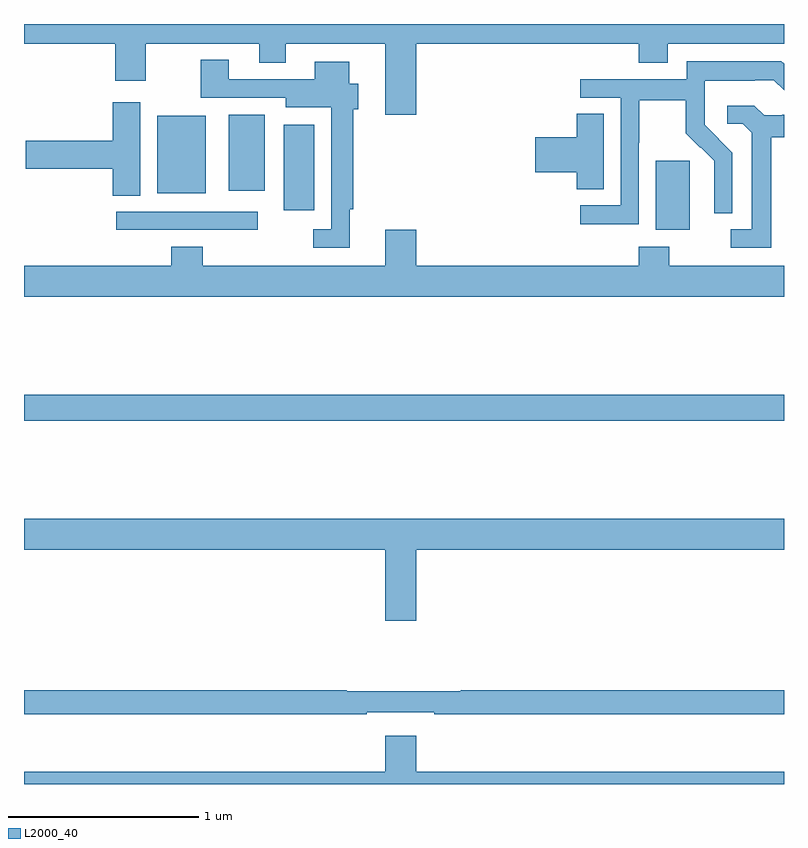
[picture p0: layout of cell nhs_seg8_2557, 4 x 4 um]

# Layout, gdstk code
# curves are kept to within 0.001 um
import gdstk
lib = gdstk.Library(unit=1e-6, precision=1e-09)
def R(c, l, rs):  # rectangles x0, y0, x1, y1
    for r in rs: c.add(gdstk.rectangle(r[:2], r[2:], *l))
def P(c, l, *ps):  # polygons
    for p in ps: c.add(gdstk.Polygon(p, *l))
L2000_40 = (2000, 40)

nhs_seg8_2557 = lib.new_cell('nhs_seg8_2557')
R(nhs_seg8_2557, L2000_40, [(271,1151.812,275,1151.948), (271.485,1152.816,272.23,1152.912), (274.325,1152.818,274.504,1153.179), (272.366,1152.921,272.527,1153.369), (271.7,1153.01,271.957,1153.417), (272.078,1153.022,272.266,1153.423)])
P(nhs_seg8_2557, L2000_40, [(271,1153.796),(271.481,1153.796),(271.481,1153.602),(271.641,1153.602),(271.641,1153.796),(272.237,1153.796),(272.237,1153.697),(272.377,1153.697),(272.377,1153.796),(272.9,1153.796),(272.9,1153.422),(273.064,1153.422),(273.064,1153.796),(274.235,1153.796),(274.235,1153.697),(274.387,1153.697),(274.387,1153.796),(275,1153.796),(275,1153.9),(271,1153.9)],
  [(272.714,1152.926),(272.732,1152.926),(272.732,1153.451),(272.758,1153.451),(272.758,1153.585),(272.713,1153.585),(272.713,1153.702),(272.531,1153.702),(272.531,1153.608),(272.077,1153.608),(272.077,1153.711),(271.93,1153.711),(271.93,1153.512),(272.378,1153.512),(272.378,1153.463),(272.616,1153.463),(272.616,1152.819),(272.523,1152.819),(272.523,1152.723),(272.714,1152.723)],
  [(274.236,1153.276),(274.239,1153.276),(274.239,1153.5),(274.483,1153.5),(274.483,1153.325),(274.56,1153.248),(274.563,1153.251),(274.634,1153.181),(274.634,1153.058),(274.632,1153.058),(274.632,1152.904),(274.728,1152.904),(274.728,1153.222),(274.582,1153.37),(274.582,1153.467),(274.584,1153.467),(274.584,1153.601),(274.847,1153.601),(274.847,1153.605),(274.947,1153.605),(275,1153.552),(275,1153.69),(274.985,1153.705),(274.488,1153.705),(274.488,1153.608),(273.927,1153.608),(273.927,1153.512),(274.14,1153.512),(274.14,1152.945),(273.927,1152.945),(273.927,1152.847),(274.236,1152.847)],
  [(271.612,1153.489),(271.466,1153.489),(271.466,1153.286),(271.008,1153.286),(271.008,1153.139),(271.466,1153.139),(271.466,1152.997),(271.612,1152.997)],
  [(274.933,1153.304),(275,1153.304),(275,1153.422),(274.99,1153.422),(274.99,1153.419),(274.896,1153.419),(274.844,1153.471),(274.701,1153.471),(274.701,1153.374),(274.782,1153.374),(274.829,1153.327),(274.829,1152.819),(274.719,1152.819),(274.719,1152.723),(274.933,1152.723)],
  [(274.051,1153.427),(273.908,1153.427),(273.908,1153.304),(273.69,1153.304),(273.69,1153.121),(273.908,1153.121),(273.908,1153.03),(274.051,1153.03)],
  [(275,1152.628),(274.395,1152.628),(274.395,1152.727),(274.235,1152.727),(274.235,1152.628),(273.064,1152.628),(273.064,1152.817),(272.9,1152.817),(272.9,1152.628),(271.94,1152.628),(271.94,1152.727),(271.775,1152.727),(271.775,1152.628),(271,1152.628),(271,1152.464),(275,1152.464)],
  [(273.064,1151.132),(275,1151.132),(275,1151.296),(271,1151.296),(271,1151.132),(272.9,1151.132),(272.9,1150.758),(273.064,1150.758)],
  [(272.804,1150.278),(273.16,1150.278),(273.16,1150.266),(275,1150.266),(275,1150.394),(273.299,1150.394),(273.299,1150.387),(272.699,1150.387),(272.699,1150.394),(271,1150.394),(271,1150.266),(272.804,1150.266)],
  [(275,1149.964),(273.064,1149.964),(273.064,1150.153),(272.9,1150.153),(272.9,1149.964),(271,1149.964),(271,1149.9),(275,1149.9)])

lib.write_gds('nhs_seg8_2557.gds')
